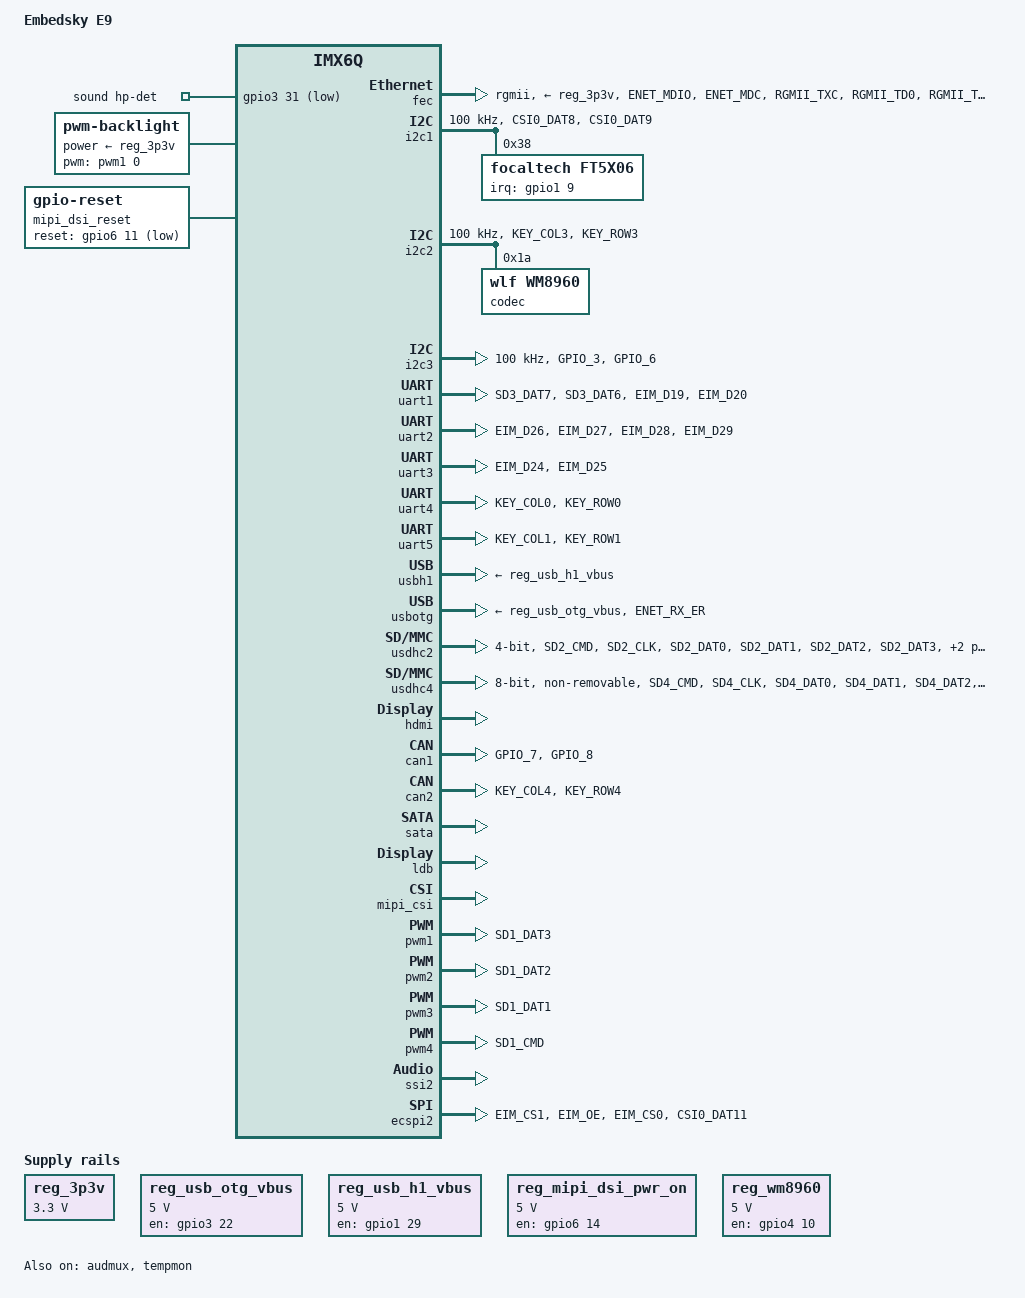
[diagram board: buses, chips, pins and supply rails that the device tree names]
/*
 * Copyright 2012 Freescale Semiconductor, Inc.
 * Copyright 2011 Linaro Ltd.
 *
 * The code contained herein is licensed under the GNU General Public
 * License. You may obtain a copy of the GNU General Public License
 * Version 2 or later at the following locations:
 *
 * http://www.opensource.org/licenses/gpl-license.html
 * http://www.gnu.org/copyleft/gpl.html
 */

#include <dt-bindings/gpio/gpio.h>
#include <dt-bindings/input/input.h>

/ {
	model = "Embedsky E9";
	compatible = "embedsky,e9", "fsl,imx6q";

	regulators {
		compatible = "simple-bus";
		#address-cells = <1>;
		#size-cells = <0>;

		reg_3p3v: regulator@0 {
			compatible = "regulator-fixed";
			reg = <0>;
			regulator-name = "3P3V";
			regulator-min-microvolt = <3300000>;
			regulator-max-microvolt = <3300000>;
			regulator-always-on;
		};

		reg_usb_otg_vbus: regulator@1 {
			compatible = "regulator-fixed";
			reg = <1>;
			regulator-name = "usb_otg_vbus";
			regulator-min-microvolt = <5000000>;
			regulator-max-microvolt = <5000000>;
			gpio = <&gpio3 22 GPIO_ACTIVE_HIGH>;
			enable-active-high;
		};

		reg_usb_h1_vbus: regulator@2 {
			compatible = "regulator-fixed";
			reg = <2>;
			regulator-name = "usb_h1_vbus";
			regulator-min-microvolt = <5000000>;
			regulator-max-microvolt = <5000000>;
			gpio = <&gpio1 29 GPIO_ACTIVE_HIGH>;
			enable-active-high;
		};

                reg_mipi_dsi_pwr_on: regulator@3 {
			compatible = "regulator-fixed";
			reg = <3>;
			regulator-name = "mipi_dsi_pwr_on";
			regulator-min-microvolt = <5000000>;
			regulator-max-microvolt = <5000000>;
			gpio = <&gpio6 14 GPIO_ACTIVE_HIGH>;
			enable-active-high;
		};

                reg_wm8960: regulator@4 {
			compatible = "regulator-fixed";
			reg = <4>;
			regulator-name = "wm8960-supply";
			regulator-min-microvolt = <5000000>;
			regulator-max-microvolt = <5000000>;
			regulator-always-on;
			gpio = <&gpio4 10 GPIO_ACTIVE_HIGH>;
			enable-active-high;
		};
                
	};
#if 0
	gpio-keys {
		compatible = "gpio-keys";
		pinctrl-names = "default";
		pinctrl-0 = <&pinctrl_gpio_keys>;
/*
		power {
			label = "Power Button";
			gpios = <&gpio4 5 GPIO_ACTIVE_LOW>;
			gpio-key,wakeup;
			linux,code = <KEY_POWER>;
		};
*/
		volume-up {
			label = "Volume Up";
			gpios = <&gpio4 8 GPIO_ACTIVE_LOW>;
			gpio-key,wakeup;
			linux,code = <KEY_VOLUMEUP>;
		};

		volume-down {
			label = "Volume Down";
			gpios = <&gpio4 9 GPIO_ACTIVE_LOW>;
			gpio-key,wakeup;
			linux,code = <KEY_VOLUMEDOWN>;
		};
	};
#endif
#if 0
/*
	sound {
		compatible = "simple-audio-card";
		simple-audio-card,name = "wm8960-hifi";
		simple-audio-card,format = "i2s";
		simple-audio-card,bitclock-master = <&dailink_master>;
		simple-audio-card,frame-master = <&dailink_master>;
		simple-audio-card,hp-det-gpio = <&gpio3 31 GPIO_ACTIVE_LOW>;
		simple-audio-card,widgets =
			"Microphone", "Mic Jack",
			"Line", "Line In",
			"Line", "Line Out",
			"Speaker", "Speaker",
			"Headphone", "Headphone Jack";
		simple-audio-card,routing =
			"Headphone Jack", "HP_L",
			"Headphone Jack", "HP_R",
			"Speaker", "SPK_LP",
			"Speaker", "SPK_LN",
			"Speaker", "SPK_RP",
			"Speaker", "SPK_RN",
			"LINPUT1", "Mic Jack",
			"LINPUT3", "Mic Jack",
			"RINPUT1", "Mic Jack",
			"RINPUT2", "Mic Jack";

		simple-audio-card,cpu {
			sound-dai = <&ssi2>;
		};

		dailink_master: simple-audio-card,codec {
			sound-dai = <&codec>;
			clocks = <&clks IMX6QDL_CLK_CKO>;
			clock-names = "mclk";
		};
	};
*/
	sound {
		compatible = "simple-audio-card";
		simple-audio-card,name = "mx6ul-wm8960";
		simple-audio-card,format = "i2s";
		simple-audio-card,bitclock-master = <&dailink_master>;
		simple-audio-card,frame-master = <&dailink_master>;
		simple-audio-card,hp-det-gpio = <&gpio3 31 GPIO_ACTIVE_LOW>;
		simple-audio-card,widgets =
			"Microphone", "Mic Jack",
			"Line", "Line In",
			"Line", "Line Out",
			"Speaker", "Speaker",
			"Headphone", "Headphone Jack";
		simple-audio-card,routing =
			"Headphone Jack", "HP_L",
			"Headphone Jack", "HP_R",
			"Speaker", "SPK_LP",
			"Speaker", "SPK_LN",
			"Speaker", "SPK_RP",
			"Speaker", "SPK_RN",
			"LINPUT1", "Mic Jack",
			"LINPUT3", "Mic Jack",
			"RINPUT1", "Mic Jack",
			"RINPUT2", "Mic Jack";

		simple-audio-card,cpu {
			sound-dai = <&ssi2>;
		};

		dailink_master: simple-audio-card,codec {
			sound-dai = <&codec>;
			clocks = <&clks IMX6QDL_CLK_SSI2>;
//			clocks = <&clks IMX6QDL_CLK_CKO>;
//			clocks = <&clks IMX6UL_CLK_SAI2>;
		};
	};
#else
	sound {
		compatible = "fsl,imx-audio-wm8960";
		model = "wm8960-audio";
		ssi-controller = <&ssi2>;
//		audio-cpu = <&esai>;
//		audio-asrc = <&asrc>;
		audio-codec = <&codec>;
		audio-routing =
			"Headphone Jack", "HP_L",
			"Headphone Jack", "HP_R",
			"Ext Spk", "SPK_LP",
			"Ext Spk", "SPK_RP",
			"LINPUT1", "MICB";
//			"MICB", "AMIC";
		mux-int-port = <2>;
		mux-ext-port = <3>;
		hp-det-gpios = <&gpio3 31 GPIO_ACTIVE_LOW>;
		status = "okay";
	};
#endif
/*
        sound-hdmi {
		compatible = "fsl,imx6q-audio-hdmi",
			     "fsl,imx-audio-hdmi";
		model = "imx-audio-hdmi";
		hdmi-controller = <&hdmi_audio>;
	};
*/
	backlight {
		compatible = "pwm-backlight";
		pwms = <&pwm1 0 5000000>;
		power-supply = <&reg_3p3v>;
		brightness-levels = <0 4 8 16 32 64 128 255>;
		default-brightness-level = <7>;
	};
/*
	v4l2_cap_0 {
		compatible = "fsl,imx6q-v4l2-capture";
		ipu_id = <0>;
		csi_id = <0>;
		mclk_source = <0>;
		status = "okay";
	};

	v4l2_cap_1 {
		compatible = "fsl,imx6q-v4l2-capture";
		ipu_id = <0>;
		csi_id = <1>;
		mclk_source = <0>;
		status = "okay";
	};

	v4l2_out {
		compatible = "fsl,mxc_v4l2_output";
		status = "okay";
	};
*/
	mipi_dsi_reset: mipi-dsi-reset {
		compatible = "gpio-reset";
		reset-gpios = <&gpio6 11 GPIO_ACTIVE_LOW>;
		reset-delay-us = <50>;
		#reset-cells = <0>;
	};
};

&iomuxc {
	pinctrl-names = "default";
	pinctrl-0 = <&pinctrl_hog>;

	imx6q-embedsky-e9 {
		pinctrl_hog: hoggrp {
			fsl,pins = <
				MX6QDL_PAD_EIM_BCLK__GPIO6_IO31		0x80000000 /* Main power ctl XXX - should be gpio_led? */
				MX6QDL_PAD_NANDF_D0__GPIO2_IO00		0x80000000
				MX6QDL_PAD_NANDF_D1__GPIO2_IO01		0x80000000
				MX6QDL_PAD_NANDF_D2__GPIO2_IO02		0x80000000
				MX6QDL_PAD_NANDF_D3__GPIO2_IO03		0x80000000
				MX6QDL_PAD_NANDF_ALE__GPIO6_IO08	0x80000000
				MX6QDL_PAD_NANDF_CLE__GPIO6_IO07	0x80000000
				MX6QDL_PAD_ENET_TXD1__GPIO1_IO29	0x80000000 /* Touch IRQ */
			>;
		};

		pinctrl_audmux: audmuxgrp {
			fsl,pins = <
				MX6QDL_PAD_CSI0_DAT7__AUD3_RXD		0x130b0
				MX6QDL_PAD_CSI0_DAT4__AUD3_TXC		0x130b0
				MX6QDL_PAD_CSI0_DAT5__AUD3_TXD		0x110b0
				MX6QDL_PAD_CSI0_DAT6__AUD3_TXFS		0x130b0
				MX6QDL_PAD_GPIO_0__CCM_CLKO1		0x130b0
			>;
		};
		
		pinctrl_can1: can1grp {
			fsl,pins = <
				MX6QDL_PAD_GPIO_7__FLEXCAN1_TX		0x1b0b1
				MX6QDL_PAD_GPIO_8__FLEXCAN1_RX		0x1b0b1
			>;
		};
		
		pinctrl_can2: can2grp {
			fsl,pins = <
				MX6QDL_PAD_KEY_COL4__FLEXCAN2_TX	0x1b0b1
				MX6QDL_PAD_KEY_ROW4__FLEXCAN2_RX	0x1b0b1
			>;
		};
		
		pinctrl_ecspi2: ecspi2grp {
			fsl,pins = <
				MX6QDL_PAD_EIM_CS1__ECSPI2_MOSI		0x100b1
				MX6QDL_PAD_EIM_OE__ECSPI2_MISO		0x100b1
				MX6QDL_PAD_EIM_CS0__ECSPI2_SCLK		0x100b1
				MX6QDL_PAD_CSI0_DAT11__ECSPI2_SS0	0x000b1 /* CS */
			>;
		};

		pinctrl_enet: enetgrp {
			fsl,pins = <
				MX6QDL_PAD_ENET_MDIO__ENET_MDIO		0x1b0b0
				MX6QDL_PAD_ENET_MDC__ENET_MDC		0x1b0b0
				MX6QDL_PAD_RGMII_TXC__RGMII_TXC		0x1b0b0
				MX6QDL_PAD_RGMII_TD0__RGMII_TD0		0x1b0b0
				MX6QDL_PAD_RGMII_TD1__RGMII_TD1		0x1b0b0
				MX6QDL_PAD_RGMII_TD2__RGMII_TD2		0x1b0b0
				MX6QDL_PAD_RGMII_TD3__RGMII_TD3		0x1b0b0
				MX6QDL_PAD_RGMII_TX_CTL__RGMII_TX_CTL	0x1b0b0
				MX6QDL_PAD_ENET_REF_CLK__ENET_TX_CLK	0x1b0b0
				MX6QDL_PAD_RGMII_RXC__RGMII_RXC		0x1b0b0
				MX6QDL_PAD_RGMII_RD0__RGMII_RD0		0x1b0b0
				MX6QDL_PAD_RGMII_RD1__RGMII_RD1		0x1b0b0
				MX6QDL_PAD_RGMII_RD2__RGMII_RD2		0x1b0b0
				MX6QDL_PAD_RGMII_RD3__RGMII_RD3		0x1b0b0
				MX6QDL_PAD_RGMII_RX_CTL__RGMII_RX_CTL	0x1b0b0
				MX6QDL_PAD_ENET_RXD1__GPIO1_IO26	0x80000000  /* MDINT */
			>;
                };
/*
		pinctrl_esai: esaigrp {
			fsl,pins = <
//				MX6QDL_PAD_GPIO_6__ESAI_TX_CLK 0x1b030
				MX6QDL_PAD_GPIO_2__ESAI_TX_FS    0x1b030
				MX6QDL_PAD_GPIO_16__ESAI_TX3_RX2 0x1b030
				MX6QDL_PAD_GPIO_5__ESAI_TX2_RX3     0x1b030
				MX6QDL_PAD_GPIO_7__ESAI_TX4_RX1  0x1b030
				MX6QDL_PAD_GPIO_8__ESAI_TX5_RX0   0x1b030
				MX6QDL_PAD_GPIO_17__ESAI_TX0        0x1b030
				MX6QDL_PAD_GPIO_18__ESAI_TX1      0x1b030
				MX6QDL_PAD_GPIO_1__ESAI_RX_CLK   0x1b030
				MX6QDL_PAD_GPIO_9__ESAI_RX_FS       0x1b030
			>;
		};
*/
/*
		pinctrl_gpio_keys: gpio_keysgrp {
			fsl,pins = <
				//MX6QDL_PAD_EIM_BCLK__GPIO6_IO31		0x80000000
				MX6QDL_PAD_KEY_COL1__KEY_COL1		0x80000000
				MX6QDL_PAD_KEY_ROW1__KEY_ROW1		0x80000000
			>;
		};
*/
		pinctrl_i2c1: i2c1grp {
			fsl,pins = <
				MX6QDL_PAD_CSI0_DAT8__I2C1_SDA		0x4001b8b1
				MX6QDL_PAD_CSI0_DAT9__I2C1_SCL		0x4001b8b1
			>;
		};

		pinctrl_i2c2: i2c2grp {
			fsl,pins = <
				MX6QDL_PAD_KEY_COL3__I2C2_SCL		0x4001b8b1
				MX6QDL_PAD_KEY_ROW3__I2C2_SDA		0x4001b8b1
			>;
		};

		pinctrl_i2c3: i2c3grp {
			fsl,pins = <
				MX6QDL_PAD_GPIO_3__I2C3_SCL		0x4001b8b1
				MX6QDL_PAD_GPIO_6__I2C3_SDA		0x4001b8b1
			>;
		};

		pinctrl_pwm1: pwm1grp {
			fsl,pins = <
				MX6QDL_PAD_SD1_DAT3__PWM1_OUT		0x1b0b1
			>;
		};

		pinctrl_pwm2: pwm2grp {
			fsl,pins = <
				MX6QDL_PAD_SD1_DAT2__PWM2_OUT		0x1b0b1
			>;
		};

		pinctrl_pwm3: pwm3grp {
			fsl,pins = <
				MX6QDL_PAD_SD1_DAT1__PWM3_OUT		0x1b0b1
			>;
		};

		pinctrl_pwm4: pwm4grp {
			fsl,pins = <
				MX6QDL_PAD_SD1_CMD__PWM4_OUT		0x1b0b1
			>;
		};

		pinctrl_uart1: uart1grp {
			fsl,pins = <
				MX6QDL_PAD_SD3_DAT7__UART1_TX_DATA	0x1b0b1
				MX6QDL_PAD_SD3_DAT6__UART1_RX_DATA	0x1b0b1
				MX6QDL_PAD_EIM_D19__UART1_CTS_B		0x1b0b1
				MX6QDL_PAD_EIM_D20__UART1_RTS_B		0x1b0b1
			>;
		};

		pinctrl_uart2: uart2grp {
			fsl,pins = <
				MX6QDL_PAD_EIM_D26__UART2_TX_DATA	0x1b0b1
				MX6QDL_PAD_EIM_D27__UART2_RX_DATA	0x1b0b1
				MX6QDL_PAD_EIM_D28__UART2_CTS_B		0x1b0b1
				MX6QDL_PAD_EIM_D29__UART2_RTS_B		0x1b0b1
			>;
		};

		pinctrl_uart3: uart3grp {
			fsl,pins = <
				MX6QDL_PAD_EIM_D24__UART3_TX_DATA	0x1b0b1
				MX6QDL_PAD_EIM_D25__UART3_RX_DATA	0x1b0b1
			>;
		};

		pinctrl_uart4: uart4grp {
			fsl,pins = <
				MX6QDL_PAD_KEY_COL0__UART4_TX_DATA	0x1b0b1
				MX6QDL_PAD_KEY_ROW0__UART4_RX_DATA	0x1b0b1
			>;
		};
		
		pinctrl_uart5: uart5grp {
			fsl,pins = <
				MX6QDL_PAD_KEY_COL1__UART5_TX_DATA	0x1b0b1
				MX6QDL_PAD_KEY_ROW1__UART5_RX_DATA	0x1b0b1
			>;
		};
		
		pinctrl_usbotg: usbotggrp {
			fsl,pins = <
				MX6QDL_PAD_ENET_RX_ER__USB_OTG_ID	0x17059
			>;
		};

		pinctrl_usdhc1: usdhc1grp {
			fsl,pins = <
				MX6QDL_PAD_SD1_CMD__SD1_CMD		0x17059
				MX6QDL_PAD_SD1_CLK__SD1_CLK		0x10059
				MX6QDL_PAD_SD1_DAT0__SD1_DATA0		0x17059
				MX6QDL_PAD_SD1_DAT1__SD1_DATA1		0x17059
				MX6QDL_PAD_SD1_DAT2__SD1_DATA2		0x17059
				MX6QDL_PAD_SD1_DAT3__SD1_DATA3		0x17059
			>;
		};

		pinctrl_usdhc2: usdhc2grp {
			fsl,pins = <
				MX6QDL_PAD_SD2_CMD__SD2_CMD		0x17059
				MX6QDL_PAD_SD2_CLK__SD2_CLK		0x10059
				MX6QDL_PAD_SD2_DAT0__SD2_DATA0		0x17059
				MX6QDL_PAD_SD2_DAT1__SD2_DATA1		0x17059
				MX6QDL_PAD_SD2_DAT2__SD2_DATA2		0x17059
				MX6QDL_PAD_SD2_DAT3__SD2_DATA3		0x17059
				MX6QDL_PAD_GPIO_4__GPIO1_IO04		0x1f071
			>;
		};

		pinctrl_usdhc3: usdhc3grp {
			fsl,pins = <
				MX6QDL_PAD_SD3_CMD__SD3_CMD		0x17059
				MX6QDL_PAD_SD3_CLK__SD3_CLK		0x10059
				MX6QDL_PAD_SD3_DAT0__SD3_DATA0		0x17059
				MX6QDL_PAD_SD3_DAT1__SD3_DATA1		0x17059
				MX6QDL_PAD_SD3_DAT2__SD3_DATA2		0x17059
				MX6QDL_PAD_SD3_DAT3__SD3_DATA3		0x17059
			>;
		};

		pinctrl_usdhc4: usdhc4grp {
			fsl,pins = <
				MX6QDL_PAD_SD4_CMD__SD4_CMD		0x17059
				MX6QDL_PAD_SD4_CLK__SD4_CLK		0x10059
				MX6QDL_PAD_SD4_DAT0__SD4_DATA0		0x17059
				MX6QDL_PAD_SD4_DAT1__SD4_DATA1		0x17059
				MX6QDL_PAD_SD4_DAT2__SD4_DATA2		0x17059
				MX6QDL_PAD_SD4_DAT3__SD4_DATA3		0x17059
				MX6QDL_PAD_SD4_DAT4__SD4_DATA4		0x17059
				MX6QDL_PAD_SD4_DAT5__SD4_DATA5		0x17059
				MX6QDL_PAD_SD4_DAT6__SD4_DATA6		0x17059
				MX6QDL_PAD_SD4_DAT7__SD4_DATA7		0x17059
			>;
		};
	};
};

&audmux {
	pinctrl-names = "default";
	pinctrl-0 = <&pinctrl_audmux>;
	status = "okay";
};

&fec {
	pinctrl-names = "default";
	pinctrl-0 = <&pinctrl_enet>;
	phy-mode = "rgmii";
	phy-supply = <&reg_3p3v>;
	phy-reset-gpios = <&gpio1 26 GPIO_ACTIVE_HIGH>;
	status = "okay";
};

&i2c1 {
	clock-frequency = <100000>;
	pinctrl-names = "default";
	pinctrl-0 = <&pinctrl_i2c1>;
	status = "okay";

	ft5x06: ft5x06_ts@38 {
		compatible = "focaltech,ft5x06";
		reg = <0x38>;
		interrupt-parent = <&gpio1>;
		interrupts = <9 2>;

		cfg-regs {
			id-g-thgroup = <0x46>;
			id-g-thpeak = <0xff>;
			id-g-thcal = <0xff>;
			id-g-thwater = <0x3c>;
			id-g-thtemp = <0x0a>;
			id-g-thdiff = <0x14>;
			id-g-ctrl = <0x0>;
			id-g-timeentermonitor = <0x2>;
			id-g-periodactive = <0x0c>;
			id-g-periodmonitor = <0x28>;
		};
	};
};

&i2c2 {
	clock-frequency = <100000>;
	pinctrl-names = "default";
	pinctrl-0 = <&pinctrl_i2c2>;
	status = "okay";
/*
	codec: wm8960@1a {
		compatible = "wlf,wm8960";
		#sound-dai-cells = <0>;
		reg = <0x1a>;
		wlf,shared-lrclk;
		wlf,capless;
		clocks = <&clks IMX6QDL_CLK_CKO>;
		clock-names = "mclk";
       };
*/
	codec: wm8960@1a {
		#sound-dai-cells = <0>;
		compatible = "wlf,wm8960";
		reg = <0x1a>;
		wlf,shared-lrclk;
	};
};

&i2c3 {
	clock-frequency = <100000>;
	pinctrl-names = "default";
	pinctrl-0 = <&pinctrl_i2c3>;
	status = "okay";
};

&uart1 {
	pinctrl-names = "default";
	pinctrl-0 = <&pinctrl_uart1>;
	status = "okay";
};

&uart2 {
	pinctrl-names = "default";
	pinctrl-0 = <&pinctrl_uart2>;
	status = "okay";
};

&uart3 {
	pinctrl-names = "default";
	pinctrl-0 = <&pinctrl_uart3>;
	status = "okay";
};

&uart4 {
	pinctrl-names = "default";
	pinctrl-0 = <&pinctrl_uart4>;
	status = "okay";
};

&uart5 {
	pinctrl-names = "default";
	pinctrl-0 = <&pinctrl_uart5>;
	status = "okay";
};

&usbh1 {
	vbus-supply = <&reg_usb_h1_vbus>;
	status = "okay";
};

&usbotg {
	vbus-supply = <&reg_usb_otg_vbus>;
	pinctrl-names = "default";
	pinctrl-0 = <&pinctrl_usbotg>;
	disable-over-current;
	status = "okay";
};

&usdhc2 {
	pinctrl-names = "default";
	pinctrl-0 = <&pinctrl_usdhc2>;
	cd-gpios = <&gpio1 4 GPIO_ACTIVE_LOW>;
	bus-width = <4>;
//	no-1-8-v;
//	vmmc-supply = <&reg_3p3v>;
//	keep-power-in-suspend;
//	enable-sdio-wakeup;
	status = "okay";
};

&usdhc4 {
	pinctrl-names = "default";
	pinctrl-0 = <&pinctrl_usdhc4>;
	bus-width = <8>;
	non-removable;
//	no-1-8-v;
//	vmmc-supply = <&reg_3p3v>;
	keep-power-in-suspend;
	status = "okay";
};

&hdmi {
	ddc-i2c-bus = <&i2c2>;
	status = "okay";
};

&can1 {
	pinctrl-names = "default";
	pinctrl-0 = <&pinctrl_can1>;
	status = "okay";
};

&can2 {
	pinctrl-names = "default";
	pinctrl-0 = <&pinctrl_can2>;
	status = "okay";
};

&sata {
	status = "okay";
};

&ldb {
	ipu_id = <1>;
	disp_id = <1>;
	ext_ref = <1>;
	mode = "sep1";
	sec_ipu_id = <1>;
	sec_disp_id = <0>;
	status = "okay";
};

&mipi_csi {
	status = "okay";
	ipu_id = <0>;
	csi_id = <1>;
	v_channel = <0>;
	lanes = <2>;
};

&pwm1 {
	pinctrl-names = "default";
	pinctrl-0 = <&pinctrl_pwm1>;
	status = "okay";
};

&pwm2 {
	pinctrl-names = "default";
	pinctrl-0 = <&pinctrl_pwm2>;
	status = "okay";
};

&pwm3 {
	pinctrl-names = "default";
	pinctrl-0 = <&pinctrl_pwm3>;
	status = "okay";
};

&pwm4 {
	pinctrl-names = "default";
	pinctrl-0 = <&pinctrl_pwm4>;
	status = "okay";
};

&ssi2 {
	#sound-dai-cells = <0>;
	fsl,mode = "i2s-slave";
	status = "okay";
};

&ecspi2 {
	fsl,spi-num-chipselects = <1>;
	cs-gpios = <&gpio5 29 GPIO_ACTIVE_HIGH>;
	pinctrl-names = "default";
	pinctrl-0 = <&pinctrl_ecspi2>;
	status = "okay";
};

&tempmon {
	status = "okay";
};
/*
&esai {
//	pinctrl-names = "default";
//	pinctrl-0 = <&pinctrl_esai>;
	assigned-clocks = <&clks IMX6QDL_CLK_ESAI_SEL>,
			  <&clks IMX6QDL_CLK_ESAI_EXTAL>;
	assigned-clock-parents = <&clks IMX6QDL_CLK_PLL4_AUDIO_DIV>;
	assigned-clock-rates = <0>, <24576000>;
	status = "okay";
};
*/
